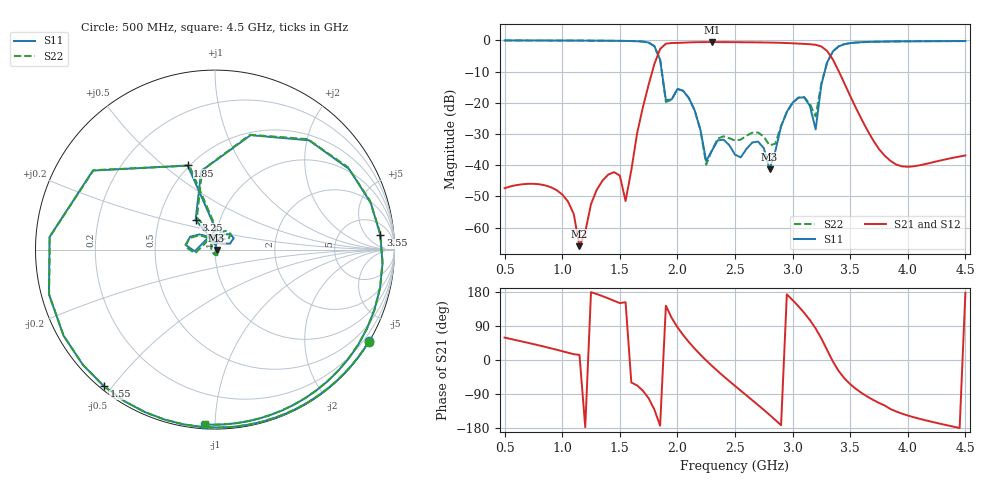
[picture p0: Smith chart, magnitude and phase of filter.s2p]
! 2-port S-parameter data
! S-port 1 net1
! S-port 2 net2
# GHz S DB R 50
!freq dBS11 angS11 dBS21 angS21 dBS12 angS12 dBS22 angS22
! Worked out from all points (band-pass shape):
!   81 points, 500 MHz to 4.5 GHz, reference 50 ohm
!   highest |S21| = -0.54 dB at 2.3 GHz (marker M1); lowest = -65.9 dB at 1.15 GHz (marker M2)
!   |S21| within 3 dB of the highest: 1.842 GHz to 3.303 GHz (1.461 GHz wide, 56.8 % of centre)
!   lowest |S11| = -41.3 dB at 2.8 GHz (marker M3), VSWR 1.02, Z = 50.8 - j0.205 ohm
!   |S11| at or under -10 dB: 1.865 GHz to 3.279 GHz (1.414 GHz wide, 55 % of centre)
!   |S22| runs from -39.8 to 0.0 dB; largest |S21 - S12| = 1.8e-15
!   S11 on the Smith chart (normalised r, x): 500 MHz: 0.01, -3.63; 1.55 GHz: 0.01, -0.48; 1.85 GHz: 0.49, +0.61; 3.25 GHz: 0.77, +0.26; 3.55 GHz: 11, +13; 4.5 GHz: 0.02, -0.94
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0.5  -0.01 -30.8  -47.35 59.1  -47.35 59.1  -0.01 -30.9
1  -0.04 -66.4  -49.36 23.3  -49.36 23.3  -0.04 -66.5
1.15  -0.06 -79.4  -65.93 13.5  -65.93 13.5  -0.06 -79.4
1.2  -0.06 -84.2  -61.37 -177.4  -61.37 -177.4  -0.06 -84.2
1.4  -0.11 -106.5  -42.99 162.6  -42.99 162.6  -0.11 -106.5
1.55  -0.17 -129.2  -51.47 152.4  -51.47 152.4  -0.17 -129.1
1.75  -0.68 175.6  -14.22 -100.8  -14.22 -100.8  -0.69 175.6
1.85  -6.15 108.0  -2.75 -173.5  -2.75 -173.5  -6.21 107.0
1.9  -19.12 87.1  -1.04 143.4  -1.04 143.4  -19.72 82.5
2  -15.58 170.9  -0.80 86.7  -0.80 86.7  -15.56 174.5
2.15  -22.45 114.8  -0.58 30.0  -0.58 30.0  -22.43 119.3
2.25  -38.65 31.3  -0.54 -1.2  -0.54 -1.2  -39.79 37.7
2.3  -35.30 -62.9  -0.54 -15.5  -0.54 -15.5  -35.17 -61.9
2.5  -36.60 -91.3  -0.57 -68.3  -0.57 -68.3  -32.10 -82.7
2.8  -41.29 -13.5  -0.69 -144.7  -0.69 -144.7  -33.63 -128.3
3.05  -18.35 44.8  -1.02 142.0  -1.02 142.0  -18.34 59.5
3.2  -28.52 88.8  -1.40 83.2  -1.40 83.2  -24.35 87.7
3.25  -14.10 123.2  -1.94 56.6  -1.94 56.6  -13.74 119.3
3.35  -3.51 72.7  -6.13 -4.0  -6.13 -4.0  -3.49 73.0
3.55  -0.68 5.0  -21.66 -76.4  -21.66 -76.4  -0.69 5.8
3.85  -0.35 -39.5  -38.62 -129.5  -38.62 -129.5  -0.36 -38.9
4.5  -0.21 -93.5  -36.86 177.3  -36.86 177.3  -0.21 -93.3
